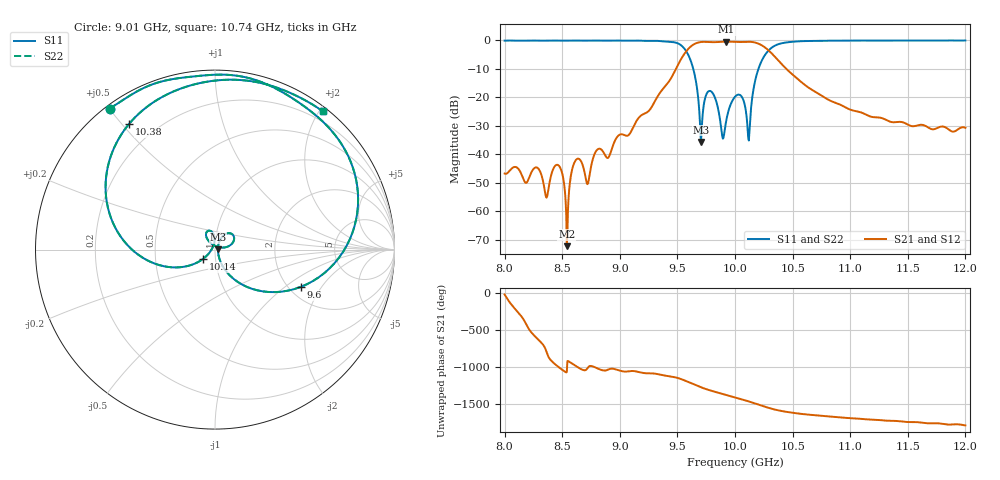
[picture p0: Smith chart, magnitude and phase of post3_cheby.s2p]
! 3rd-order post, Chebyshev 0.1 dB (base-paper dimensions)
! openEMS v0.37 FDTD, reciprocal & symmetric: S22=S11, S12=S21
# GHz S MA R 50
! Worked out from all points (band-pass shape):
!   801 points, 8 GHz to 12 GHz, reference 50 ohm
!   highest |S21| = -0.50 dB at 9.925 GHz (marker M1); lowest = -72.2 dB at 8.54 GHz (marker M2)
!   |S21| within 3 dB of the highest: 9.585 GHz to 10.29 GHz (703.9 MHz wide, 7.08 % of centre)
!   lowest |S11| = -35.6 dB at 9.705 GHz (marker M3), VSWR 1.03, Z = 51.7 + j0.227 ohm
!   |S11| at or under -10 dB: 9.637 GHz to 10.2 GHz (566.8 MHz wide, 5.71 % of centre)
!   |S22| runs from -35.6 to -0.1 dB; largest |S21 - S12| = 0
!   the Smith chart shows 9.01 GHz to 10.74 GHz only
!   S11 on the Smith chart (normalised r, x): 9.01 GHz: 0.01, +0.50; 9.6 GHz: 2.31, -1.32; 10.14 GHz: 0.87, -0.09; 10.38 GHz: 0.10, +0.52; 10.74 GHz: 0.06, +2.05
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8  0.9806 -114.9  0.00462 -19.4  0.00462 -19.4  0.9806 -114.9
8.365  0.9833 -156.8  0.001745 -80.1  0.001745 -80.1  0.9833 -156.8
8.465  0.9816 -168.5  0.006471 86.1  0.006471 86.1  0.9816 -168.5
8.54  0.9834 -176.6  0.0002465 16.7  0.0002465 16.7  0.9834 -176.6
8.6  0.9866 176.3  0.006749 112.9  0.006749 112.9  0.9866 176.3
8.67  0.9807 168.3  0.007135 48.5  0.007135 48.5  0.9807 168.3
9.01  0.9802 126.8  0.02246 29.0  0.02246 29.0  0.9802 126.8
9.335  0.9699 75.3  0.1088 -15.6  0.1088 -15.6  0.9699 75.3
9.51  0.8677 24.1  0.3861 -69.1  0.3861 -69.1  0.8677 24.1
9.6  0.5214 -23.5  0.7217 -123.5  0.7217 -123.5  0.5214 -23.5
9.705  0.01654 7.6  0.9288 168.5  0.9288 168.5  0.01654 7.6
9.78  0.1291 39.3  0.9247 128.3  0.9247 128.3  0.1291 39.3
9.925  0.03995 121.9  0.9441 62.8  0.9441 62.8  0.03995 121.9
10  0.102 119.2  0.931 30.1  0.931 30.1  0.102 119.2
10.115  0.01931 126.6  0.9385 -20.2  0.9385 -20.2  0.01931 126.6
10.145  0.08292 -142.1  0.9316 -35.0  0.9316 -35.0  0.08292 -142.1
10.225  0.4067 -173.8  0.8283 -76.4  0.8283 -76.4  0.4067 -173.8
10.375  0.8482 124.4  0.4432 -142.7  0.4432 -142.7  0.8482 124.4
10.67  0.9694 62.5  0.1343 154.5  0.1343 154.5  0.9694 62.5
10.745  0.9766 52.1  0.1092 142.8  0.1092 142.8  0.9766 52.1
11.335  0.986 -12.6  0.03812 76.3  0.03812 76.3  0.986 -12.6
12  0.9879 -72.9  0.02918 13.1  0.02918 13.1  0.9879 -72.9
